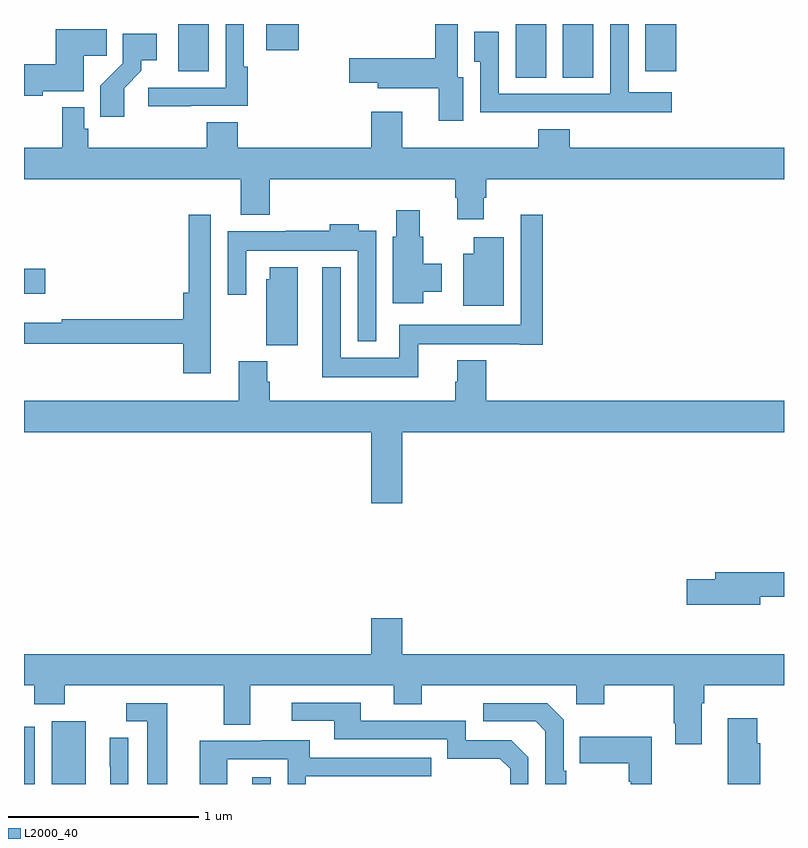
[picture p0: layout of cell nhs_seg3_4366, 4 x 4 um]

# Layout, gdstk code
import gdstk
lib = gdstk.Library(unit=1e-6, precision=1e-09)
def R(c, l, rs):  # rectangles x0, y0, x1, y1
    for r in rs: c.add(gdstk.rectangle(r[:2], r[2:], *l))
def P(c, l, *ps):  # polygons
    for p in ps: c.add(gdstk.Polygon(p, *l))
L2000_40 = (2000, 40)

nhs_seg3_4366 = lib.new_cell('nhs_seg3_4366')
R(nhs_seg3_4366, L2000_40, [(343,696.4,343.056,696.702), (343.145,696.4,343.324,696.73), (344.201,696.4,344.298,696.436), (343,698.981,343.111,699.111), (345.587,700.117,345.748,700.4), (345.836,700.117,345.997,700.4), (343.811,700.152,343.972,700.4), (346.271,700.152,346.432,700.4), (344.276,700.263,344.447,700.4)])
P(nhs_seg3_4366, L2000_40, [(345.623,699.936),(345.989,699.936),(345.989,699.935),(346.408,699.935),(346.408,700.042),(346.182,700.042),(346.182,700.4),(346.086,700.4),(346.086,700.032),(345.498,700.032),(345.498,700.36),(345.371,700.36),(345.371,700.201),(345.402,700.201),(345.402,699.935),(345.623,699.935)],
  [(345.313,700.119),(345.283,700.119),(345.283,700.4),(345.165,700.4),(345.165,700.221),(344.712,700.221),(344.712,700.091),(344.861,700.091),(344.861,700.061),(345.182,700.061),(345.182,699.891),(345.313,699.891)],
  [(343.877,699.969),(344.177,699.969),(344.177,700.175),(344.157,700.175),(344.157,700.4),(344.061,700.4),(344.061,700.065),(343.653,700.065),(343.653,699.967),(343.877,699.967)],
  [(343.098,700.046),(343.315,700.046),(343.315,700.234),(343.436,700.234),(343.436,700.372),(343.166,700.372),(343.166,700.187),(343,700.187),(343,700.022),(343.098,700.022)],
  [(343.528,700.063),(343.618,700.153),(343.618,700.208),(343.699,700.208),(343.699,700.348),(343.521,700.348),(343.521,700.193),(343.402,700.074),(343.402,699.912),(343.528,699.912)],
  [(345.421,699.486),(345.434,699.486),(345.434,699.584),(347,699.584),(347,699.748),(345.872,699.748),(345.872,699.847),(345.707,699.847),(345.707,699.748),(344.992,699.748),(344.992,699.937),(344.828,699.937),(344.828,699.748),(344.126,699.748),(344.126,699.884),(343.961,699.884),(343.961,699.748),(343.337,699.748),(343.337,699.849),(343.317,699.849),(343.317,699.961),(343.201,699.961),(343.201,699.748),(343,699.748),(343,699.584),(344.141,699.584),(344.141,699.395),(344.294,699.395),(344.294,699.584),(345.269,699.584),(345.269,699.486),(345.281,699.486),(345.281,699.372),(345.421,699.372)],
  [(345.1,698.99),(345.199,698.99),(345.199,699.138),(345.1,699.138),(345.1,699.279),(345.082,699.279),(345.082,699.421),(344.96,699.421),(344.96,699.279),(344.942,699.279),(344.942,698.931),(345.1,698.931)],
  [(345.074,698.714),(345.608,698.714),(345.608,698.712),(345.731,698.712),(345.731,699.397),(345.615,699.397),(345.615,698.818),(344.976,698.818),(344.976,698.644),(344.667,698.644),(344.667,699.121),(344.57,699.121),(344.57,698.54),(345.074,698.54)],
  [(343.984,698.823),(343.983,698.823),(343.983,699.397),(343.867,699.397),(343.867,698.986),(343.838,698.986),(343.838,698.846),(343.198,698.846),(343.198,698.827),(343,698.827),(343,698.718),(343.838,698.718),(343.838,698.562),(343.984,698.562)],
  [(344.853,699.313),(344.761,699.313),(344.761,699.346),(344.609,699.346),(344.609,699.313),(344.377,699.313),(344.377,699.31),(344.073,699.31),(344.073,698.976),(344.169,698.976),(344.169,699.206),(344.757,699.206),(344.757,698.729),(344.853,698.729)],
  [(345.526,699.277),(345.368,699.277),(345.368,699.19),(345.311,699.19),(345.311,698.918),(345.526,698.918)],
  [(344.44,699.121),(344.294,699.121),(344.294,699.057),(344.276,699.057),(344.276,698.71),(344.44,698.71)],
  [(344.992,698.252),(347,698.252),(347,698.416),(345.434,698.416),(345.434,698.629),(345.281,698.629),(345.281,698.517),(345.269,698.517),(345.269,698.416),(344.294,698.416),(344.294,698.516),(344.281,698.516),(344.281,698.625),(344.129,698.625),(344.129,698.416),(343,698.416),(343,698.252),(344.828,698.252),(344.828,697.878),(344.992,697.878)],
  [(346.876,697.386),(347,697.386),(347,697.514),(346.637,697.514),(346.637,697.478),(346.488,697.478),(346.488,697.343),(346.876,697.343)],
  [(346.567,696.824),(346.58,696.824),(346.58,696.92),(347,696.92),(347,697.084),(344.992,697.084),(344.992,697.273),(344.828,697.273),(344.828,697.084),(343,697.084),(343,696.92),(343.055,696.92),(343.055,696.821),(343.215,696.821),(343.215,696.92),(344.051,696.92),(344.051,696.712),(344.191,696.712),(344.191,696.92),(344.945,696.92),(344.945,696.821),(345.093,696.821),(345.093,696.92),(345.906,696.92),(345.906,696.821),(346.053,696.821),(346.053,696.92),(346.42,696.92),(346.42,696.721),(346.427,696.721),(346.427,696.609),(346.567,696.609)],
  [(345.654,696.54),(345.564,696.63),(345.324,696.63),(345.324,696.732),(344.773,696.732),(344.773,696.828),(344.409,696.828),(344.409,696.732),(344.633,696.732),(344.633,696.636),(345.228,696.636),(345.228,696.533),(345.505,696.533),(345.558,696.48),(345.558,696.4),(345.654,696.4)],
  [(343.753,696.825),(343.539,696.825),(343.539,696.729),(343.649,696.729),(343.649,696.4),(343.753,696.4)],
  [(345.853,696.469),(345.84,696.469),(345.84,696.738),(345.753,696.825),(345.417,696.825),(345.417,696.729),(345.693,696.729),(345.744,696.678),(345.744,696.4),(345.853,696.4)],
  [(346.876,696.615),(346.858,696.615),(346.858,696.745),(346.703,696.745),(346.703,696.4),(346.876,696.4)],
  [(346.303,696.649),(345.925,696.649),(345.925,696.509),(346.182,696.509),(346.182,696.413),(346.194,696.413),(346.194,696.4),(346.303,696.4)],
  [(343.548,696.644),(343.452,696.644),(343.452,696.49),(343.454,696.49),(343.454,696.4),(343.548,696.4)],
  [(344.07,696.531),(344.388,696.531),(344.388,696.4),(344.484,696.4),(344.484,696.441),(345.143,696.441),(345.143,696.537),(344.503,696.537),(344.503,696.631),(344.249,696.631),(344.249,696.627),(343.925,696.627),(343.925,696.4),(344.07,696.4)])

lib.write_gds('nhs_seg3_4366.gds')
